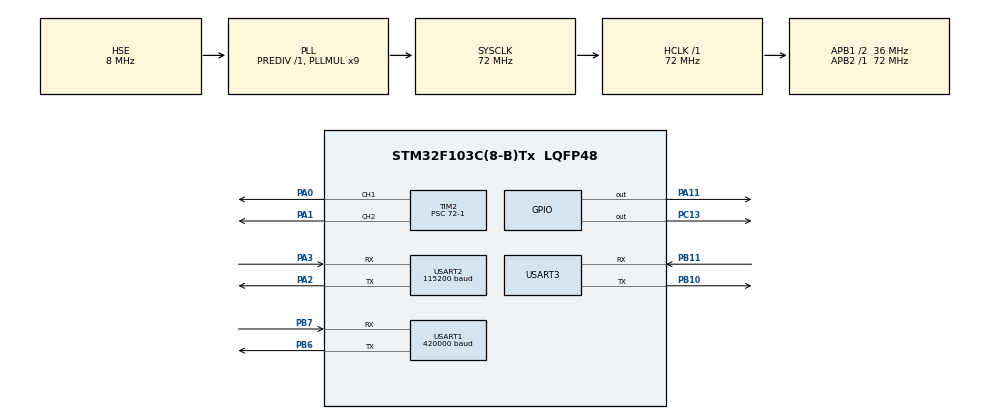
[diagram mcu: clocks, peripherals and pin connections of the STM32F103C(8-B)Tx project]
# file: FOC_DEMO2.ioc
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Dma.Request0=USART3_TX
Dma.Request1=USART3_RX
Dma.Request2=USART1_RX
Dma.Request3=USART1_TX
Dma.Request4=USART2_TX
Dma.Request5=USART2_RX
Dma.USART1_RX.2.Direction=DMA_PERIPH_TO_MEMORY
Dma.USART1_RX.2.Instance=DMA1_Channel5
Dma.USART1_RX.2.MemDataAlignment=DMA_MDATAALIGN_BYTE
Dma.USART1_RX.2.MemInc=DMA_MINC_ENABLE
Dma.USART1_RX.2.Mode=DMA_CIRCULAR
Dma.USART1_RX.2.PeriphDataAlignment=DMA_PDATAALIGN_BYTE
Dma.USART1_RX.2.PeriphInc=DMA_PINC_DISABLE
Dma.USART1_RX.2.Priority=DMA_PRIORITY_LOW
Dma.USART1_TX.3.Direction=DMA_MEMORY_TO_PERIPH
Dma.USART1_TX.3.Instance=DMA1_Channel4
Dma.USART1_TX.3.MemDataAlignment=DMA_MDATAALIGN_BYTE
Dma.USART1_TX.3.MemInc=DMA_MINC_ENABLE
Dma.USART1_TX.3.Mode=DMA_NORMAL
Dma.USART1_TX.3.PeriphDataAlignment=DMA_PDATAALIGN_BYTE
Dma.USART1_TX.3.PeriphInc=DMA_PINC_DISABLE
Dma.USART1_TX.3.Priority=DMA_PRIORITY_LOW
Dma.USART2_RX.5.Direction=DMA_PERIPH_TO_MEMORY
Dma.USART2_RX.5.Instance=DMA1_Channel6
Dma.USART2_RX.5.MemDataAlignment=DMA_MDATAALIGN_BYTE
Dma.USART2_RX.5.MemInc=DMA_MINC_ENABLE
Dma.USART2_RX.5.Mode=DMA_NORMAL
Dma.USART2_RX.5.PeriphDataAlignment=DMA_PDATAALIGN_BYTE
Dma.USART2_RX.5.PeriphInc=DMA_PINC_DISABLE
Dma.USART2_RX.5.Priority=DMA_PRIORITY_HIGH
Dma.USART2_TX.4.Direction=DMA_MEMORY_TO_PERIPH
Dma.USART2_TX.4.Instance=DMA1_Channel7
Dma.USART2_TX.4.MemDataAlignment=DMA_MDATAALIGN_BYTE
Dma.USART2_TX.4.MemInc=DMA_MINC_ENABLE
Dma.USART2_TX.4.Mode=DMA_NORMAL
Dma.USART2_TX.4.PeriphDataAlignment=DMA_PDATAALIGN_BYTE
Dma.USART2_TX.4.PeriphInc=DMA_PINC_DISABLE
Dma.USART2_TX.4.Priority=DMA_PRIORITY_HIGH
Dma.USART3_RX.1.Direction=DMA_PERIPH_TO_MEMORY
Dma.USART3_RX.1.Instance=DMA1_Channel3
Dma.USART3_RX.1.MemDataAlignment=DMA_MDATAALIGN_BYTE
Dma.USART3_RX.1.MemInc=DMA_MINC_ENABLE
Dma.USART3_RX.1.Mode=DMA_CIRCULAR
Dma.USART3_RX.1.PeriphDataAlignment=DMA_PDATAALIGN_BYTE
Dma.USART3_RX.1.PeriphInc=DMA_PINC_DISABLE
Dma.USART3_RX.1.Priority=DMA_PRIORITY_LOW
Dma.USART3_TX.0.Direction=DMA_MEMORY_TO_PERIPH
Dma.USART3_TX.0.Instance=DMA1_Channel2
Dma.USART3_TX.0.MemDataAlignment=DMA_MDATAALIGN_BYTE
Dma.USART3_TX.0.MemInc=DMA_MINC_ENABLE
Dma.USART3_TX.0.Mode=DMA_NORMAL
Dma.USART3_TX.0.PeriphDataAlignment=DMA_PDATAALIGN_BYTE
Dma.USART3_TX.0.PeriphInc=DMA_PINC_DISABLE
Dma.USART3_TX.0.Priority=DMA_PRIORITY_LOW
FREERTOS.HEAP_NUMBER=4
FREERTOS.Tasks01=defaultTask,24,128,StartDefaultTask,Default,NULL,Dynamic,NULL,NULL
FREERTOS.configCHECK_FOR_STACK_OVERFLOW=2
FREERTOS.configMINIMAL_STACK_SIZE=64
FREERTOS.configTOTAL_HEAP_SIZE=5120
FREERTOS.configUSE_NEWLIB_REENTRANT=1
IWDG.Prescaler=IWDG_PRESCALER_64
IWDG.Reload=2812
Mcu.Family=STM32F1
Mcu.Name=STM32F103C(8-B)Tx
Mcu.Package=LQFP48
NVIC.DMA1_Channel2_IRQn=true\:5\:0\:false\:false\:true\:true\:false\:true\:true
NVIC.DMA1_Channel3_IRQn=true\:5\:0\:false\:false\:true\:true\:false\:true\:true
NVIC.DMA1_Channel4_IRQn=true\:5\:0\:false\:false\:true\:true\:false\:true\:true
NVIC.DMA1_Channel5_IRQn=true\:5\:0\:false\:false\:true\:true\:false\:true\:true
NVIC.DMA1_Channel6_IRQn=true\:5\:0\:false\:false\:true\:true\:false\:true\:true
NVIC.DMA1_Channel7_IRQn=true\:5\:0\:false\:false\:true\:true\:false\:true\:true
NVIC.PriorityGroup=NVIC_PRIORITYGROUP_4
NVIC.TIM2_IRQn=true\:5\:0\:false\:false\:true\:true\:true\:true\:true
NVIC.TIM4_IRQn=true\:15\:0\:false\:false\:true\:false\:false\:true\:true
NVIC.TimeBase=TIM4_IRQn
NVIC.TimeBaseIP=TIM4
NVIC.USART1_IRQn=true\:5\:0\:false\:false\:true\:true\:true\:true\:true
NVIC.USART2_IRQn=true\:5\:0\:false\:false\:true\:true\:true\:true\:true
NVIC.USART3_IRQn=true\:5\:0\:false\:false\:true\:true\:true\:true\:true
PA0-WKUP.Signal=S_TIM2_CH1_ETR
PA1.Signal=S_TIM2_CH2
PA11.Signal=GPIO_Output
PA13.Mode=Serial_Wire
PA13.Signal=SYS_JTMS-SWDIO
PA14.Mode=Serial_Wire
PA14.Signal=SYS_JTCK-SWCLK
PA2.Mode=Asynchronous
PA2.Signal=USART2_TX
PA3.Mode=Asynchronous
PA3.Signal=USART2_RX
PB10.Mode=Asynchronous
PB10.Signal=USART3_TX
PB11.Mode=Asynchronous
PB11.Signal=USART3_RX
PB6.Mode=Asynchronous
PB6.Signal=USART1_TX
PB7.Mode=Asynchronous
PB7.Signal=USART1_RX
PC13-TAMPER-RTC.PinState=GPIO_PIN_RESET
PC13-TAMPER-RTC.Signal=GPIO_Output
PD0-OSC_IN.Mode=HSE-External-Oscillator
PD0-OSC_IN.Signal=RCC_OSC_IN
PD1-OSC_OUT.Mode=HSE-External-Oscillator
PD1-OSC_OUT.Signal=RCC_OSC_OUT
ProjectManager.HeapSize=0x200
ProjectManager.StackSize=0x400
ProjectManager.TargetToolchain=STM32CubeIDE
RCC.AHBFreq_Value=72000000
RCC.APB1CLKDivider=RCC_HCLK_DIV2
RCC.APB1Freq_Value=36000000
RCC.APB1TimFreq_Value=72000000
RCC.APB2Freq_Value=72000000
RCC.APB2TimFreq_Value=72000000
RCC.HCLKFreq_Value=72000000
RCC.PLLMUL=RCC_PLL_MUL9
RCC.PLLSourceVirtual=RCC_PLLSOURCE_HSE
RCC.SYSCLKFreq_VALUE=72000000
RCC.SYSCLKSource=RCC_SYSCLKSOURCE_PLLCLK
RCC.USBFreq_Value=72000000
SH.S_TIM2_CH1_ETR.0=TIM2_CH1,PWM Generation1 CH1
SH.S_TIM2_CH2.0=TIM2_CH2,PWM Generation2 CH2
TIM2.AutoReloadPreload=TIM_AUTORELOAD_PRELOAD_ENABLE
TIM2.Channel-PWM\ Generation1\ CH1=TIM_CHANNEL_1
TIM2.Channel-PWM\ Generation2\ CH2=TIM_CHANNEL_2
TIM2.Period=20000-1
TIM2.Prescaler=72-1
USART1.BaudRate=420000
USART1.VirtualMode=VM_ASYNC
USART2.BaudRate=115200
USART2.VirtualMode=VM_ASYNC
USART3.VirtualMode=VM_ASYNC
VP_FREERTOS_VS_CMSIS_V2.Mode=CMSIS_V2
VP_IWDG_VS_IWDG.Mode=IWDG_Activate
VP_SYS_VS_tim4.Mode=TIM4
VP_TIM2_VS_ClockSourceINT.Mode=Internal
board=custom

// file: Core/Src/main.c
/* USER CODE BEGIN Header */
/**
  ******************************************************************************
  * @file           : main.c
  * @brief          : Main program body
  ******************************************************************************
  * @attention
  *
  * Copyright (c) 2025 STMicroelectronics.
  * All rights reserved.
  *
  * This software is licensed under terms that can be found in the LICENSE file
  * in the root directory of this software component.
  * If no LICENSE file comes with this software, it is provided AS-IS.
  *
  ******************************************************************************
  */
/* USER CODE END Header */
#include "main.h"
#include "cmsis_os.h"
#include "dma.h"
#include "iwdg.h"
#include "tim.h"
#include "usart.h"
#include "gpio.h"

/* USER CODE BEGIN Includes */
#include "bsp_uart.h"
#include "bsp_gpio.h"
#include "bsp_pwm.h"

/* demo_v7 app-layer entries */
#include "app_control.h"
#include "app_debug.h"

/* USER CODE END Includes */

void SystemClock_Config(void);
void MX_FREERTOS_Init(void);

int main(void)
{

  /* MCU Configuration--------------------------------------------------------*/

  /* Reset of all peripherals, Initializes the Flash interface and the Systick. */
  HAL_Init();

  /* Configure the system clock */
  SystemClock_Config();

  /* Initialize all configured peripherals */
  MX_GPIO_Init();
  MX_DMA_Init();
  MX_USART3_UART_Init();
  MX_TIM2_Init();
  MX_USART1_UART_Init();
  MX_USART2_UART_Init();
  MX_IWDG_Init();
  /* USER CODE BEGIN 2 */
    BSP_UART_Init(); // 确保串口先初始化，方便打印 Log
    BSP_PWM_Init();

    /* demo_v7: I2C/AS5600 path removed. ST3215 uses USART2 half-duplex. */

    /* demo_v7: bring up app-layer dependencies before kernel starts. The
     * actual ControlTask / DebugTask are created from RTOS_THREADS in
     * freertos.c. */
    App_Control_InitDeps();
    App_Debug_InitDeps();

  /* USER CODE END 2 */

  /* Init scheduler */
  osKernelInitialize();  /* Call init function for freertos objects (in cmsis_os2.c) */
  MX_FREERTOS_Init();

  /* Start scheduler */
  osKernelStart();

  /* We should never get here as control is now taken by the scheduler */

  /* Infinite loop */
  while (1)
  {

  }
}

void SystemClock_Config(void)
{
  RCC_OscInitTypeDef RCC_OscInitStruct = {0};
  RCC_ClkInitTypeDef RCC_ClkInitStruct = {0};

  /** Initializes the RCC Oscillators according to the specified parameters
  * in the RCC_OscInitTypeDef structure.
  */
  RCC_OscInitStruct.OscillatorType = RCC_OSCILLATORTYPE_LSI|RCC_OSCILLATORTYPE_HSE;
  RCC_OscInitStruct.HSEState = RCC_HSE_ON;
  RCC_OscInitStruct.HSEPredivValue = RCC_HSE_PREDIV_DIV1;
  RCC_OscInitStruct.HSIState = RCC_HSI_ON;
  RCC_OscInitStruct.LSIState = RCC_LSI_ON;
  RCC_OscInitStruct.PLL.PLLState = RCC_PLL_ON;
  RCC_OscInitStruct.PLL.PLLSource = RCC_PLLSOURCE_HSE;
  RCC_OscInitStruct.PLL.PLLMUL = RCC_PLL_MUL9;
  if (HAL_RCC_OscConfig(&RCC_OscInitStruct) != HAL_OK)
  {
    Error_Handler();
  }

  /** Initializes the CPU, AHB and APB buses clocks
  */
  RCC_ClkInitStruct.ClockType = RCC_CLOCKTYPE_HCLK|RCC_CLOCKTYPE_SYSCLK
                              |RCC_CLOCKTYPE_PCLK1|RCC_CLOCKTYPE_PCLK2;
  RCC_ClkInitStruct.SYSCLKSource = RCC_SYSCLKSOURCE_PLLCLK;
  RCC_ClkInitStruct.AHBCLKDivider = RCC_SYSCLK_DIV1;
  RCC_ClkInitStruct.APB1CLKDivider = RCC_HCLK_DIV2;
  RCC_ClkInitStruct.APB2CLKDivider = RCC_HCLK_DIV1;

  if (HAL_RCC_ClockConfig(&RCC_ClkInitStruct, FLASH_LATENCY_2) != HAL_OK)
  {
    Error_Handler();
  }
}

void HAL_TIM_PeriodElapsedCallback(TIM_HandleTypeDef *htim)
{
  if (htim->Instance == TIM4)
  {
    HAL_IncTick();
  }
}

void Error_Handler(void)
{
  __disable_irq();
  while (1)
  {
  }
}

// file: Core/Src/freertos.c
/* USER CODE BEGIN Header */
/**
  ******************************************************************************
  * File Name          : freertos.c
  * Description        : Code for freertos applications
  ******************************************************************************
  * @attention
  *
  * Copyright (c) 2025 STMicroelectronics.
  * All rights reserved.
  *
  * This software is licensed under terms that can be found in the LICENSE file
  * in the root directory of this software component.
  * If no LICENSE file comes with this software, it is provided AS-IS.
  *
  ******************************************************************************
  */
/* USER CODE END Header */

#include "FreeRTOS.h"
#include "task.h"
#include "main.h"
#include "cmsis_os.h"

/* USER CODE BEGIN Includes */
#include "stdio.h"
#include "bsp_uart.h"
#include "task_motion.h"   // [添加]
#include "test_rc_console.h"
#include <math.h> // 用于测试浮点打印

/* demo_v7 app-layer entries */
#include "app_control.h"
#include "app_debug.h"
#include "app_housekeeping.h"
/* USER CODE END Includes */

/* Definitions for defaultTask */
osThreadId_t defaultTaskHandle;
const osThreadAttr_t defaultTask_attributes = {
  .name = "defaultTask",
  .stack_size = 128 * 4,
  .priority = (osPriority_t) osPriorityNormal,
};

void StartDefaultTask(void *argument);

void MX_FREERTOS_Init(void); /* (MISRA C 2004 rule 8.1) */

/* Hook prototypes */
void vApplicationStackOverflowHook(xTaskHandle xTask, signed char *pcTaskName);

/* USER CODE BEGIN 4 */
/* CubeMX generated an empty hook stub here; the real implementation lives
 * in USER CODE Application section below to avoid duplicate definition. */
/* USER CODE END 4 */

void MX_FREERTOS_Init(void) {

  /* Create the thread(s) */
  /* creation of defaultTask */
  defaultTaskHandle = osThreadNew(StartDefaultTask, NULL, &defaultTask_attributes);

  /* USER CODE BEGIN RTOS_THREADS */
  /* demo_v7: create application threads. defaultTask above continues to run
   * App_Housekeeping_Step at 1Hz; ControlTask and DebugTask are created here. */
  App_Control_Init();
  App_Debug_Init();
  /* USER CODE END RTOS_THREADS */

}

void StartDefaultTask(void *argument)
{
  /* USER CODE BEGIN StartDefaultTask */
    (void)argument;

    /* demo_v7: defaultTask runs the housekeeping janitor at 1Hz.
     * It feeds IWDG only when ControlTask heartbeat is fresh. */
    App_Housekeeping_Init();

    for (;;) {
        App_Housekeeping_Step();
        osDelay(1000);
    }
  /* USER CODE END StartDefaultTask */
}

/* USER CODE BEGIN Application */

/* Minimal stack-overflow hook. Halts in a visible loop so a debugger
 * trace shows which task blew its stack. Signature must match the
 * prototype above (xTaskHandle / signed char*) so the linker resolves
 * to a single symbol. */
void vApplicationStackOverflowHook(xTaskHandle xTask, signed char *pcTaskName)
{
    (void)xTask;
    (void)pcTaskName;
    taskDISABLE_INTERRUPTS();
    for (;;) { __asm volatile ("nop"); }
}

/* USER CODE END Application */
